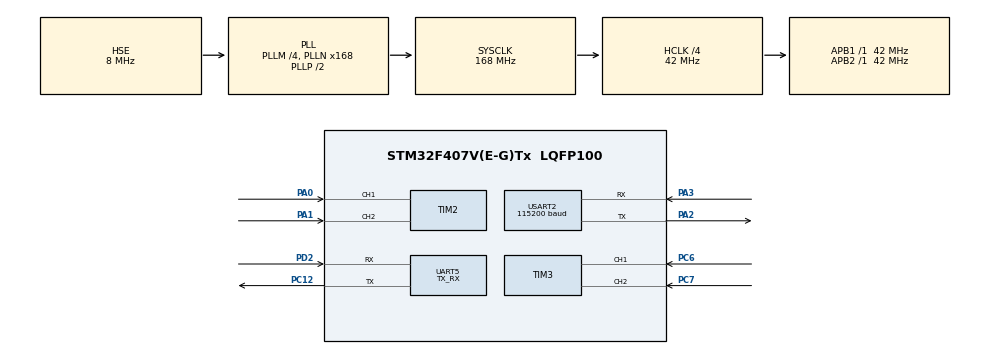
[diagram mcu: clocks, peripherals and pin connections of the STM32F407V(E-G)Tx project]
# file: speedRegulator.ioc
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Mcu.Family=STM32F4
Mcu.Name=STM32F407V(E-G)Tx
Mcu.Package=LQFP100
NVIC.PriorityGroup=NVIC_PRIORITYGROUP_4
NVIC.TIM8_TRG_COM_TIM14_IRQn=true\:0\:0\:false\:false\:true\:true\:true\:true
PA0-WKUP.Signal=S_TIM2_CH1_ETR
PA1.Signal=S_TIM2_CH2
PA2.Mode=Asynchronous
PA2.Signal=USART2_TX
PA3.Mode=Asynchronous
PA3.Signal=USART2_RX
PC12.Mode=Asynchronous
PC12.Signal=UART5_TX
PC6.Signal=S_TIM3_CH1
PC7.Signal=S_TIM3_CH2
PD2.Mode=Asynchronous
PD2.Signal=UART5_RX
PH0-OSC_IN.Mode=HSE-External-Oscillator
PH0-OSC_IN.Signal=RCC_OSC_IN
PH1-OSC_OUT.Mode=HSE-External-Oscillator
PH1-OSC_OUT.Signal=RCC_OSC_OUT
ProjectManager.HeapSize=0x200
ProjectManager.StackSize=0x400
ProjectManager.TargetToolchain=STM32CubeIDE
RCC.48MHZClocksFreq_Value=84000000
RCC.AHBCLKDivider=RCC_SYSCLK_DIV4
RCC.AHBFreq_Value=42000000
RCC.APB1Freq_Value=42000000
RCC.APB1TimFreq_Value=42000000
RCC.APB2Freq_Value=42000000
RCC.APB2TimFreq_Value=42000000
RCC.CortexFreq_Value=42000000
RCC.HCLKFreq_Value=42000000
RCC.HSE_VALUE=8000000
RCC.HSI_VALUE=16000000
RCC.LSE_VALUE=32768
RCC.PLLM=4
RCC.PLLN=168
RCC.PLLSourceVirtual=RCC_PLLSOURCE_HSE
RCC.SYSCLKFreq_VALUE=168000000
RCC.SYSCLKSource=RCC_SYSCLKSOURCE_PLLCLK
RCC.VCOOutputFreq_Value=336000000
SH.S_TIM2_CH1_ETR.0=TIM2_CH1,Encoder_Interface
SH.S_TIM2_CH2.0=TIM2_CH2,Encoder_Interface
SH.S_TIM3_CH1.0=TIM3_CH1,Encoder_Interface
SH.S_TIM3_CH2.0=TIM3_CH2,Encoder_Interface
TIM14.Period=2000
TIM14.Prescaler=42
TIM2.EncoderMode=TIM_ENCODERMODE_TI12
TIM3.EncoderMode=TIM_ENCODERMODE_TI12
TIM5.CounterMode=TIM_COUNTERMODE_DOWN
TIM5.Prescaler=42
TIM6.Period=65535
TIM6.Prescaler=42
TIM6.TIM_MasterOutputTrigger=TIM_TRGO_UPDATE
UART5.Mode=MODE_TX_RX
UART5.VirtualMode=Asynchronous
USART2.BaudRate=115200
USART2.VirtualMode=VM_ASYNC
VP_TIM14_VS_ClockSourceINT.Mode=Enable_Timer
VP_TIM5_VS_ClockSourceINT.Mode=Internal
VP_TIM6_VS_ClockSourceINT.Mode=Enable_Timer
board=custom

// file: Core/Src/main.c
/* USER CODE BEGIN Header */
/**
  ******************************************************************************
  * @file           : main.c
  * @brief          : Main program body
  ******************************************************************************
  * @attention
  *
  * Copyright (c) 2025 STMicroelectronics.
  * All rights reserved.
  *
  * This software is licensed under terms that can be found in the LICENSE file
  * in the root directory of this software component.
  * If no LICENSE file comes with this software, it is provided AS-IS.
  *
  ******************************************************************************
  */
/* USER CODE END Header */
#include "main.h"

/* USER CODE BEGIN Includes */
#include "encoders.h"
#include "qik_2s12v10_lib.h"

/* USER CODE END Includes */

TIM_HandleTypeDef htim2;
TIM_HandleTypeDef htim3;
TIM_HandleTypeDef htim5;
TIM_HandleTypeDef htim6;
TIM_HandleTypeDef htim14;

UART_HandleTypeDef huart5;
UART_HandleTypeDef huart2;

/* USER CODE BEGIN PV */
//uint8_t speed = 10;
uint8_t dirL = 0, dirR = 0;
float encoderLvalues[10];
float encoderRvalues[10];
float temp, lSum=0, rSum=0, lSpeed, rSpeed;
float integralL = 0, integralR = 0, previousLSpeed= 0, previousRSpeed=0;
int8_t leftCtrl = 0, rightCtrl = 0;
float kp = 0.35, ki=16, kd=0.0;
/* USER CODE END PV */

void SystemClock_Config(void);
static void MX_GPIO_Init(void);
static void MX_TIM2_Init(void);
static void MX_TIM3_Init(void);
static void MX_TIM14_Init(void);
static void MX_UART5_Init(void);
static void MX_USART2_UART_Init(void);
static void MX_TIM5_Init(void);
static void MX_TIM6_Init(void);
/* USER CODE BEGIN PFP */

int8_t PID(float setpoint, float measured, float Kp, float Ki, float Kd, float *integral, float *previousMeasurment, float dt, uint8_t *rotation);
uint8_t direction(float *speed, float histeresis);
/* USER CODE END PFP */

int main(void)
{

  /* MCU Configuration--------------------------------------------------------*/

  /* Reset of all peripherals, Initializes the Flash interface and the Systick. */
  HAL_Init();

  /* Configure the system clock */
  SystemClock_Config();

  /* Initialize all configured peripherals */
  MX_GPIO_Init();
  MX_TIM2_Init();
  MX_TIM3_Init();
  MX_TIM14_Init();
  MX_UART5_Init();
  MX_USART2_UART_Init();
  MX_TIM5_Init();
  MX_TIM6_Init();
  /* USER CODE BEGIN 2 */
  HAL_TIM_Encoder_Start(&htim2, TIM_CHANNEL_1);
  HAL_TIM_Encoder_Start(&htim2, TIM_CHANNEL_2);

  HAL_TIM_Encoder_Start(&htim3, TIM_CHANNEL_1);
  HAL_TIM_Encoder_Start(&htim3, TIM_CHANNEL_2);

  HAL_TIM_Base_Start_IT(&htim14);
  HAL_TIM_Base_Start_IT(&htim6);

  /* USER CODE END 2 */

  /* Infinite loop */
  while (1)
  {

  }
}

void SystemClock_Config(void)
{
  RCC_OscInitTypeDef RCC_OscInitStruct = {0};
  RCC_ClkInitTypeDef RCC_ClkInitStruct = {0};

  /** Configure the main internal regulator output voltage
  */
  __HAL_RCC_PWR_CLK_ENABLE();
  __HAL_PWR_VOLTAGESCALING_CONFIG(PWR_REGULATOR_VOLTAGE_SCALE1);

  /** Initializes the RCC Oscillators according to the specified parameters
  * in the RCC_OscInitTypeDef structure.
  */
  RCC_OscInitStruct.OscillatorType = RCC_OSCILLATORTYPE_HSE;
  RCC_OscInitStruct.HSEState = RCC_HSE_ON;
  RCC_OscInitStruct.PLL.PLLState = RCC_PLL_ON;
  RCC_OscInitStruct.PLL.PLLSource = RCC_PLLSOURCE_HSE;
  RCC_OscInitStruct.PLL.PLLM = 4;
  RCC_OscInitStruct.PLL.PLLN = 168;
  RCC_OscInitStruct.PLL.PLLP = RCC_PLLP_DIV2;
  RCC_OscInitStruct.PLL.PLLQ = 4;
  if (HAL_RCC_OscConfig(&RCC_OscInitStruct) != HAL_OK)
  {
    Error_Handler();
  }

  /** Initializes the CPU, AHB and APB buses clocks
  */
  RCC_ClkInitStruct.ClockType = RCC_CLOCKTYPE_HCLK|RCC_CLOCKTYPE_SYSCLK
                              |RCC_CLOCKTYPE_PCLK1|RCC_CLOCKTYPE_PCLK2;
  RCC_ClkInitStruct.SYSCLKSource = RCC_SYSCLKSOURCE_PLLCLK;
  RCC_ClkInitStruct.AHBCLKDivider = RCC_SYSCLK_DIV4;
  RCC_ClkInitStruct.APB1CLKDivider = RCC_HCLK_DIV1;
  RCC_ClkInitStruct.APB2CLKDivider = RCC_HCLK_DIV1;

  if (HAL_RCC_ClockConfig(&RCC_ClkInitStruct, FLASH_LATENCY_1) != HAL_OK)
  {
    Error_Handler();
  }
}

static void MX_TIM2_Init(void)
{

  TIM_Encoder_InitTypeDef sConfig = {0};
  TIM_MasterConfigTypeDef sMasterConfig = {0};

  htim2.Instance = TIM2;
  htim2.Init.Prescaler = 0;
  htim2.Init.CounterMode = TIM_COUNTERMODE_UP;
  htim2.Init.Period = 4294967295;
  htim2.Init.ClockDivision = TIM_CLOCKDIVISION_DIV1;
  htim2.Init.AutoReloadPreload = TIM_AUTORELOAD_PRELOAD_DISABLE;
  sConfig.EncoderMode = TIM_ENCODERMODE_TI12;
  sConfig.IC1Polarity = TIM_ICPOLARITY_RISING;
  sConfig.IC1Selection = TIM_ICSELECTION_DIRECTTI;
  sConfig.IC1Prescaler = TIM_ICPSC_DIV1;
  sConfig.IC1Filter = 0;
  sConfig.IC2Polarity = TIM_ICPOLARITY_RISING;
  sConfig.IC2Selection = TIM_ICSELECTION_DIRECTTI;
  sConfig.IC2Prescaler = TIM_ICPSC_DIV1;
  sConfig.IC2Filter = 0;
  if (HAL_TIM_Encoder_Init(&htim2, &sConfig) != HAL_OK)
  {
    Error_Handler();
  }
  sMasterConfig.MasterOutputTrigger = TIM_TRGO_RESET;
  sMasterConfig.MasterSlaveMode = TIM_MASTERSLAVEMODE_DISABLE;
  if (HAL_TIMEx_MasterConfigSynchronization(&htim2, &sMasterConfig) != HAL_OK)
  {
    Error_Handler();
  }

}

static void MX_TIM3_Init(void)
{

  TIM_Encoder_InitTypeDef sConfig = {0};
  TIM_MasterConfigTypeDef sMasterConfig = {0};

  htim3.Instance = TIM3;
  htim3.Init.Prescaler = 0;
  htim3.Init.CounterMode = TIM_COUNTERMODE_UP;
  htim3.Init.Period = 65535;
  htim3.Init.ClockDivision = TIM_CLOCKDIVISION_DIV1;
  htim3.Init.AutoReloadPreload = TIM_AUTORELOAD_PRELOAD_DISABLE;
  sConfig.EncoderMode = TIM_ENCODERMODE_TI12;
  sConfig.IC1Polarity = TIM_ICPOLARITY_RISING;
  sConfig.IC1Selection = TIM_ICSELECTION_DIRECTTI;
  sConfig.IC1Prescaler = TIM_ICPSC_DIV1;
  sConfig.IC1Filter = 0;
  sConfig.IC2Polarity = TIM_ICPOLARITY_RISING;
  sConfig.IC2Selection = TIM_ICSELECTION_DIRECTTI;
  sConfig.IC2Prescaler = TIM_ICPSC_DIV1;
  sConfig.IC2Filter = 0;
  if (HAL_TIM_Encoder_Init(&htim3, &sConfig) != HAL_OK)
  {
    Error_Handler();
  }
  sMasterConfig.MasterOutputTrigger = TIM_TRGO_RESET;
  sMasterConfig.MasterSlaveMode = TIM_MASTERSLAVEMODE_DISABLE;
  if (HAL_TIMEx_MasterConfigSynchronization(&htim3, &sMasterConfig) != HAL_OK)
  {
    Error_Handler();
  }

}

static void MX_TIM5_Init(void)
{

  TIM_ClockConfigTypeDef sClockSourceConfig = {0};
  TIM_MasterConfigTypeDef sMasterConfig = {0};

  htim5.Instance = TIM5;
  htim5.Init.Prescaler = 42;
  htim5.Init.CounterMode = TIM_COUNTERMODE_DOWN;
  htim5.Init.Period = 4294967295;
  htim5.Init.ClockDivision = TIM_CLOCKDIVISION_DIV1;
  htim5.Init.AutoReloadPreload = TIM_AUTORELOAD_PRELOAD_DISABLE;
  if (HAL_TIM_Base_Init(&htim5) != HAL_OK)
  {
    Error_Handler();
  }
  sClockSourceConfig.ClockSource = TIM_CLOCKSOURCE_INTERNAL;
  if (HAL_TIM_ConfigClockSource(&htim5, &sClockSourceConfig) != HAL_OK)
  {
    Error_Handler();
  }
  sMasterConfig.MasterOutputTrigger = TIM_TRGO_RESET;
  sMasterConfig.MasterSlaveMode = TIM_MASTERSLAVEMODE_DISABLE;
  if (HAL_TIMEx_MasterConfigSynchronization(&htim5, &sMasterConfig) != HAL_OK)
  {
    Error_Handler();
  }

}

static void MX_TIM6_Init(void)
{

  TIM_MasterConfigTypeDef sMasterConfig = {0};

  htim6.Instance = TIM6;
  htim6.Init.Prescaler = 42;
  htim6.Init.CounterMode = TIM_COUNTERMODE_UP;
  htim6.Init.Period = 65535;
  htim6.Init.AutoReloadPreload = TIM_AUTORELOAD_PRELOAD_DISABLE;
  if (HAL_TIM_Base_Init(&htim6) != HAL_OK)
  {
    Error_Handler();
  }
  sMasterConfig.MasterOutputTrigger = TIM_TRGO_UPDATE;
  sMasterConfig.MasterSlaveMode = TIM_MASTERSLAVEMODE_DISABLE;
  if (HAL_TIMEx_MasterConfigSynchronization(&htim6, &sMasterConfig) != HAL_OK)
  {
    Error_Handler();
  }

}

static void MX_TIM14_Init(void)
{

  htim14.Instance = TIM14;
  htim14.Init.Prescaler = 42;
  htim14.Init.CounterMode = TIM_COUNTERMODE_UP;
  htim14.Init.Period = 2000;
  htim14.Init.ClockDivision = TIM_CLOCKDIVISION_DIV1;
  htim14.Init.AutoReloadPreload = TIM_AUTORELOAD_PRELOAD_DISABLE;
  if (HAL_TIM_Base_Init(&htim14) != HAL_OK)
  {
    Error_Handler();
  }

}

static void MX_UART5_Init(void)
{

  huart5.Instance = UART5;
  huart5.Init.BaudRate = 115200;
  huart5.Init.WordLength = UART_WORDLENGTH_8B;
  huart5.Init.StopBits = UART_STOPBITS_1;
  huart5.Init.Parity = UART_PARITY_NONE;
  huart5.Init.Mode = UART_MODE_TX_RX;
  huart5.Init.HwFlowCtl = UART_HWCONTROL_NONE;
  huart5.Init.OverSampling = UART_OVERSAMPLING_16;
  if (HAL_UART_Init(&huart5) != HAL_OK)
  {
    Error_Handler();
  }

}

static void MX_USART2_UART_Init(void)
{

  huart2.Instance = USART2;
  huart2.Init.BaudRate = 115200;
  huart2.Init.WordLength = UART_WORDLENGTH_8B;
  huart2.Init.StopBits = UART_STOPBITS_1;
  huart2.Init.Parity = UART_PARITY_NONE;
  huart2.Init.Mode = UART_MODE_TX_RX;
  huart2.Init.HwFlowCtl = UART_HWCONTROL_NONE;
  huart2.Init.OverSampling = UART_OVERSAMPLING_16;
  if (HAL_UART_Init(&huart2) != HAL_OK)
  {
    Error_Handler();
  }

}

static void MX_GPIO_Init(void)
{

  /* GPIO Ports Clock Enable */
  __HAL_RCC_GPIOH_CLK_ENABLE();
  __HAL_RCC_GPIOA_CLK_ENABLE();
  __HAL_RCC_GPIOC_CLK_ENABLE();
  __HAL_RCC_GPIOD_CLK_ENABLE();

}

/* USER CODE BEGIN 4 */

void HAL_TIM_PeriodElapsedCallback(TIM_HandleTypeDef *htim)
{
  /* Prevent unused argument(s) compilation warning */
  UNUSED(htim);

  if (htim->Instance == TIM14){
	  __HAL_TIM_SET_COUNTER(&htim6, 0);
	  HAL_TIM_Base_Start(&htim6);

	  // i must have speed variable
	  getEncoders(&htim2, &htim3);

	  // moving average needed (for low speeds)
	  lSum = 0;
	  rSum = 0;
	  for(uint8_t i =9; i>0; i--){
		  encoderLvalues[i]=encoderLvalues[i-1];
		  lSum += encoderLvalues[i];
		  encoderRvalues[i]=encoderRvalues[i-1];
		  rSum += encoderRvalues[i];
	  }
	  encoderRvalues[0] = encoderRSpeed;
	  encoderLvalues[0] = encoderLSpeed;
	  lSum += encoderLSpeed;
	  rSum += encoderRSpeed;
	  lSpeed = lSum / 10.0;
	  rSpeed = rSum / 10.0;

	  // PID that eliminates the steady state error
	  rightCtrl = PID(temp, rSpeed, kp, ki, kd, &integralR, &previousRSpeed, encoderTd, &dirR);
	  leftCtrl = PID(temp, -lSpeed, kp, ki, kd, &integralL, &previousLSpeed, encoderTd, &dirL);
	  rightCtrl = abs(rightCtrl);
	  leftCtrl = abs(leftCtrl);

	  RightMotorSpeed(&huart2, &rightCtrl, dirR);
	  LeftMotorSpeed(&huart2, &leftCtrl, dirL);

	  // (2 PIDs actually)

	  // print the results to the PC
	  HAL_UART_Transmit(&huart5, &encoderRSpeed, 4, 1);
	  HAL_UART_Transmit(&huart5, &encoderLSpeed, 4, 1);

	  HAL_UART_Transmit(&huart5, &rSpeed, 4, 1);
	  HAL_UART_Transmit(&huart5, &lSpeed, 4, 1);

	  //HAL_UART_Transmit(&huart5, &rightCtrl, 1, 1);
	  //HAL_UART_Transmit(&huart5, &leftCtrl, 1, 1);
	  HAL_TIM_Base_Stop(&htim6);
	  int cnt6 = __HAL_TIM_GET_COUNTER(&htim6);
  }
  if (htim->Instance == TIM6){
	  //HAL_UART_Transmit(&huart5, encoderLvalues, 40, 1);
	  //HAL_UART_Transmit(&huart5, encoderRvalues, 40, 1);
  }

}

int8_t PID(float setpoint, float measured, float Kp, float Ki, float Kd, float *integral, float *previousMeasurment, float dt, uint8_t *rotation){
	float error = setpoint - measured;
	*integral += error * dt;
	float derivative = (measured - *previousMeasurment)/dt;
	float control = Kp * error + Ki * *integral + Kd * derivative;
	*previousMeasurment = measured;

	// direction

	*rotation = direction(&control, 0);

	// limits
	if (control<-127){
		control = -127;
	}
	else if (control>127){
		control = 127;
	}
	return (int8_t)control;
}

uint8_t direction(float *speed, float histeresis){
	uint8_t rotation = 0;
	if (*speed< -histeresis){
		rotation = 2;
	}
	else if (*speed> histeresis){
		rotation = 0;
	}
	else{
		*speed = 0;
	}
	return rotation;
}

/* USER CODE END 4 */

void Error_Handler(void)
{
  __disable_irq();
  while (1)
  {
  }
}
